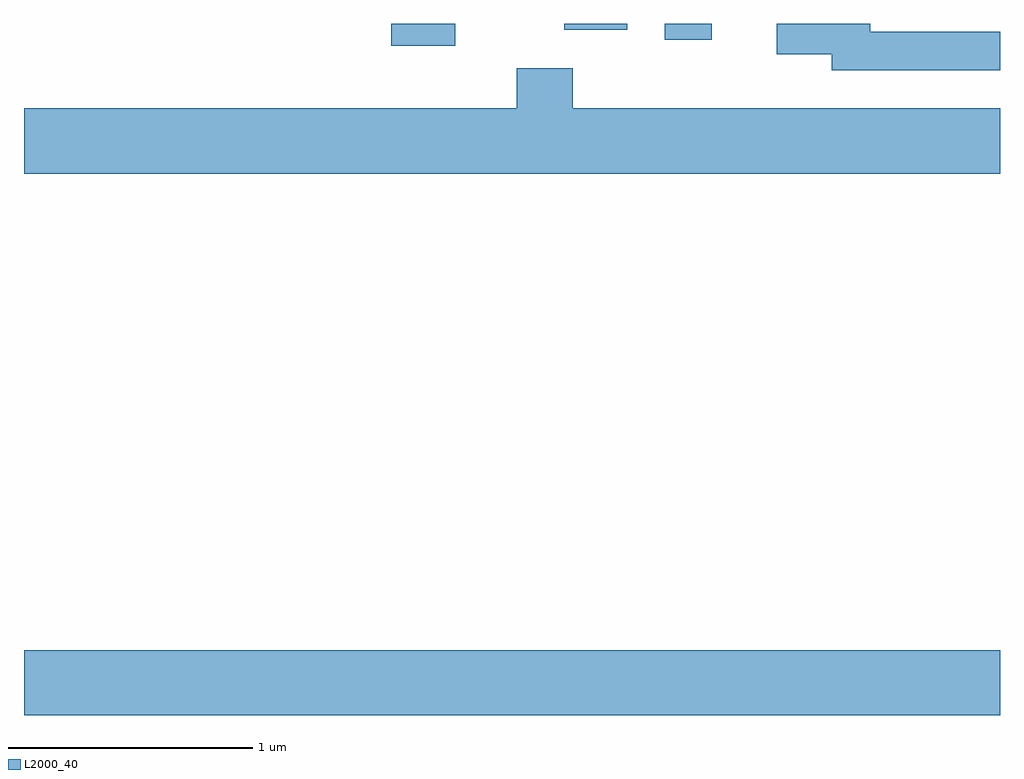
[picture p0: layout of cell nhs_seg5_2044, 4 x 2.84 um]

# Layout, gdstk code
import gdstk
lib = gdstk.Library(unit=1e-6, precision=1e-09)
def R(c, l, rs):  # rectangles x0, y0, x1, y1
    for r in rs: c.add(gdstk.rectangle(r[:2], r[2:], *l))
def P(c, l, *ps):  # polygons
    for p in ps: c.add(gdstk.Polygon(p, *l))
L2000_40 = (2000, 40)

nhs_seg5_2044 = lib.new_cell('nhs_seg5_2044')
R(nhs_seg5_2044, L2000_40, [(245.611,1461.236,249.611,1461.504), (247.116,1463.981,247.378,1464.072), (248.236,1464.006,248.429,1464.072), (247.826,1464.046,248.084,1464.072)])
P(nhs_seg5_2044, L2000_40, [(249.611,1464.039),(249.079,1464.039),(249.079,1464.072),(248.696,1464.072),(248.696,1463.946),(248.921,1463.946),(248.921,1463.881),(249.611,1463.881)],
  [(249.611,1463.724),(247.859,1463.724),(247.859,1463.889),(247.631,1463.889),(247.631,1463.724),(245.611,1463.724),(245.611,1463.456),(249.611,1463.456)])

lib.write_gds('nhs_seg5_2044.gds')
